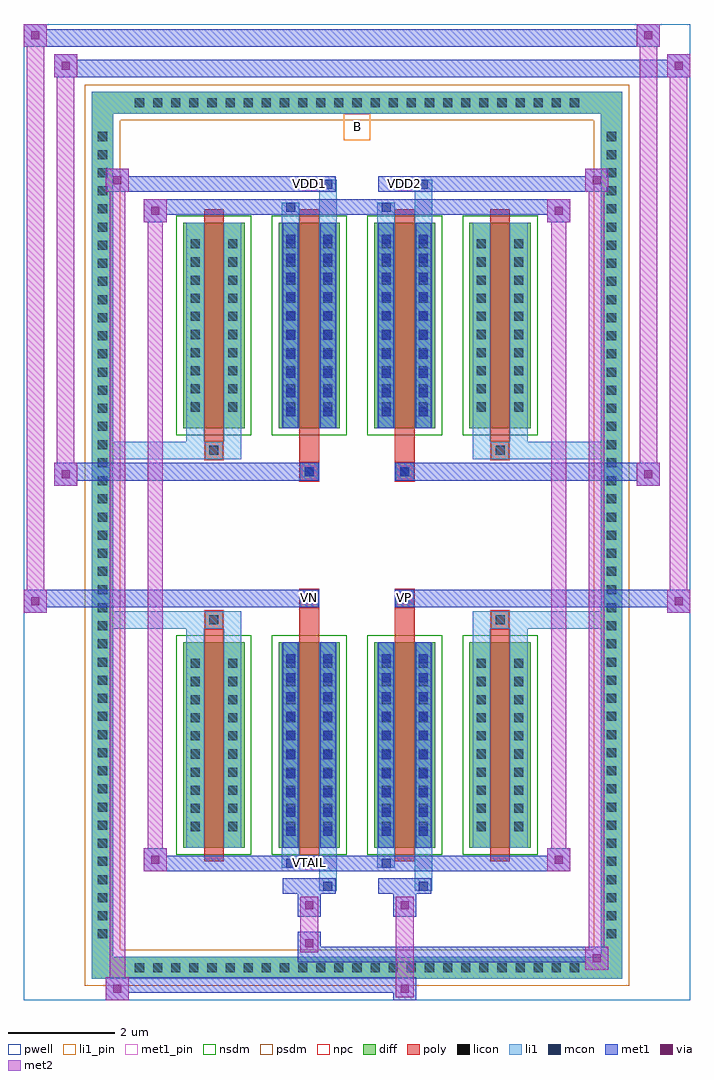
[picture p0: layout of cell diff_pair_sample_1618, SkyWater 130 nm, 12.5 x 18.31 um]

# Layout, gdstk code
import gdstk
lib = gdstk.Library(unit=1e-6, precision=5e-09)
def R(c, l, rs):  # rectangles x0, y0, x1, y1
    for r in rs: c.add(gdstk.rectangle(r[:2], r[2:], *l))
def A(c, l, x, y, w, h, nx, ny, dx, dy):  # array of equal rectangles
    R(c, l, [(x+i*dx, y+j*dy, x+i*dx+w, y+j*dy+h) for i in range(nx) for j in range(ny)])
def P(c, l, *ps):  # polygons
    for p in ps: c.add(gdstk.Polygon(p, *l))
pwell = (64, 44)
diff = (65, 20)
poly = (66, 20)
licon = (66, 44)
li1_pin = (67, 16)
li1 = (67, 20)
mcon = (67, 44)
met1_pin = (68, 16)
met1 = (68, 20)
via = (68, 44)
met2 = (69, 20)
nsdm = (93, 44)
psdm = (94, 20)
npc = (95, 20)

diff_pair_sample_1618 = lib.new_cell('diff_pair_sample_1618')
R(diff_pair_sample_1618, pwell, [(-6.25,-8.72,6.25,9.59), (-3.57,-6.91,-0.01,-0.825), (0.01,-6.91,3.57,-0.825), (-3.57,0.825,-0.01,6.91), (0.01,0.825,3.57,6.91)])
A(diff_pair_sample_1618, diff, -4.285, -8.32, 0.41, 0.41, 25, 2, 0.34, 16.23)
A(diff_pair_sample_1618, diff, -4.98, -7.685, 0.41, 0.41, 1, 45, 0, 0.34)
A(diff_pair_sample_1618, diff, 4.57, -7.685, 0.41, 0.41, 1, 45, 0, 0.34)
A(diff_pair_sample_1618, diff, -3.26, -5.865, 1.15, 3.86, 4, 2, 1.79, 7.87)
R(diff_pair_sample_1618, diff, [(-4.285,-8.32,4.285,-7.91), (-4.98,-7.685,-4.57,7.685), (4.57,-7.685,4.98,7.685), (-4.285,7.91,4.285,8.32)])
P(diff_pair_sample_1618, diff, [(4.98,8.32),(-4.98,8.32),(-4.98,-7.91),(-4.57,-7.91),(-4.57,7.91),(4.57,7.91),(4.57,-7.91),(-4.57,-7.91),(-4.98,-7.91),(-4.98,-8.32),(4.98,-8.32)])
A(diff_pair_sample_1618, poly, -2.87, -6.115, 0.37, 4.36, 4, 2, 1.79, 7.87)
R(diff_pair_sample_1618, poly, [(-2.85,-1.755,-2.52,-1.425), (-2.85,-1.755,-2.52,-1.425), (-1.08,-1.755,-0.71,-1.355), (0.71,-1.755,1.08,-1.355), (2.52,-1.755,2.85,-1.425), (2.52,-1.755,2.85,-1.425), (-1.08,-1.355,-0.71,-1.025), (-1.06,-1.355,-0.73,-1.025), (0.71,-1.355,1.08,-1.025), (0.73,-1.355,1.06,-1.025), (-1.08,1.025,-0.71,1.355), (-1.06,1.025,-0.73,1.355), (0.71,1.025,1.08,1.355), (0.73,1.025,1.06,1.355), (-1.08,1.355,-0.71,1.755), (0.71,1.355,1.08,1.755), (-2.85,1.425,-2.52,1.755), (-2.85,1.425,-2.52,1.755), (2.52,1.425,2.85,1.755), (2.52,1.425,2.85,1.755)])
A(diff_pair_sample_1618, licon, -4.165, -8.2, 0.17, 0.17, 25, 2, 0.34, 16.23)
A(diff_pair_sample_1618, licon, -4.86, -7.565, 0.17, 0.17, 1, 45, 0, 0.34)
A(diff_pair_sample_1618, licon, 4.69, -7.565, 0.17, 0.17, 1, 45, 0, 0.34)
A(diff_pair_sample_1618, licon, -3.12, -5.55, 0.17, 0.17, 1, 10, 0, 0.34)
A(diff_pair_sample_1618, licon, -2.42, -5.55, 0.17, 0.17, 1, 10, 0, 0.34)
A(diff_pair_sample_1618, licon, -1.33, -5.55, 0.17, 0.17, 1, 10, 0, 0.34)
A(diff_pair_sample_1618, licon, -0.63, -5.55, 0.17, 0.17, 1, 10, 0, 0.34)
A(diff_pair_sample_1618, licon, 0.46, -5.55, 0.17, 0.17, 1, 10, 0, 0.34)
A(diff_pair_sample_1618, licon, 1.16, -5.55, 0.17, 0.17, 1, 10, 0, 0.34)
A(diff_pair_sample_1618, licon, 2.25, -5.55, 0.17, 0.17, 1, 10, 0, 0.34)
A(diff_pair_sample_1618, licon, 2.95, -5.55, 0.17, 0.17, 1, 10, 0, 0.34)
A(diff_pair_sample_1618, licon, -3.12, 2.32, 0.17, 0.17, 1, 10, 0, 0.34)
A(diff_pair_sample_1618, licon, -2.42, 2.32, 0.17, 0.17, 1, 10, 0, 0.34)
A(diff_pair_sample_1618, licon, -1.33, 2.32, 0.17, 0.17, 1, 10, 0, 0.34)
A(diff_pair_sample_1618, licon, -0.63, 2.32, 0.17, 0.17, 1, 10, 0, 0.34)
A(diff_pair_sample_1618, licon, 0.46, 2.32, 0.17, 0.17, 1, 10, 0, 0.34)
A(diff_pair_sample_1618, licon, 1.16, 2.32, 0.17, 0.17, 1, 10, 0, 0.34)
A(diff_pair_sample_1618, licon, 2.25, 2.32, 0.17, 0.17, 1, 10, 0, 0.34)
A(diff_pair_sample_1618, licon, 2.95, 2.32, 0.17, 0.17, 1, 10, 0, 0.34)
R(diff_pair_sample_1618, licon, [(-2.77,-1.675,-2.6,-1.505), (2.6,-1.675,2.77,-1.505), (-0.98,-1.275,-0.81,-1.105), (0.81,-1.275,0.98,-1.105), (-0.98,1.105,-0.81,1.275), (0.81,1.105,0.98,1.275), (-2.77,1.505,-2.6,1.675), (2.6,1.505,2.77,1.675)])
R(diff_pair_sample_1618, li1_pin, [(-0.25,7.41,0.25,7.91)])
A(diff_pair_sample_1618, li1, -4.245, -8.28, 0.33, 0.33, 25, 2, 0.34, 16.23)
A(diff_pair_sample_1618, li1, -4.94, -7.645, 0.33, 0.33, 1, 45, 0, 0.34)
A(diff_pair_sample_1618, li1, 4.61, -7.645, 0.33, 0.33, 1, 45, 0, 0.34)
A(diff_pair_sample_1618, li1, -1.33, -5.64, 0.17, 0.17, 1, 10, 0, 0.36)
A(diff_pair_sample_1618, li1, -0.63, -5.64, 0.17, 0.17, 1, 10, 0, 0.36)
A(diff_pair_sample_1618, li1, 0.46, -5.64, 0.17, 0.17, 1, 10, 0, 0.36)
A(diff_pair_sample_1618, li1, 1.16, -5.64, 0.17, 0.17, 1, 10, 0, 0.36)
A(diff_pair_sample_1618, li1, -3.2, -5.63, 0.33, 0.33, 1, 10, 0, 0.34)
A(diff_pair_sample_1618, li1, -2.5, -5.63, 0.33, 0.33, 1, 10, 0, 0.34)
A(diff_pair_sample_1618, li1, -1.41, -5.63, 0.33, 0.33, 1, 10, 0, 0.34)
A(diff_pair_sample_1618, li1, -0.71, -5.63, 0.33, 0.33, 1, 10, 0, 0.34)
A(diff_pair_sample_1618, li1, 0.38, -5.63, 0.33, 0.33, 1, 10, 0, 0.34)
A(diff_pair_sample_1618, li1, 1.08, -5.63, 0.33, 0.33, 1, 10, 0, 0.34)
A(diff_pair_sample_1618, li1, 2.17, -5.63, 0.33, 0.33, 1, 10, 0, 0.34)
A(diff_pair_sample_1618, li1, 2.87, -5.63, 0.33, 0.33, 1, 10, 0, 0.34)
A(diff_pair_sample_1618, li1, -1.33, 2.23, 0.17, 0.17, 1, 10, 0, 0.36)
A(diff_pair_sample_1618, li1, -0.63, 2.23, 0.17, 0.17, 1, 10, 0, 0.36)
A(diff_pair_sample_1618, li1, 0.46, 2.23, 0.17, 0.17, 1, 10, 0, 0.36)
A(diff_pair_sample_1618, li1, 1.16, 2.23, 0.17, 0.17, 1, 10, 0, 0.36)
A(diff_pair_sample_1618, li1, -3.2, 2.24, 0.33, 0.33, 1, 10, 0, 0.34)
A(diff_pair_sample_1618, li1, -2.5, 2.24, 0.33, 0.33, 1, 10, 0, 0.34)
A(diff_pair_sample_1618, li1, -1.41, 2.24, 0.33, 0.33, 1, 10, 0, 0.34)
A(diff_pair_sample_1618, li1, -0.71, 2.24, 0.33, 0.33, 1, 10, 0, 0.34)
A(diff_pair_sample_1618, li1, 0.38, 2.24, 0.33, 0.33, 1, 10, 0, 0.34)
A(diff_pair_sample_1618, li1, 1.08, 2.24, 0.33, 0.33, 1, 10, 0, 0.34)
A(diff_pair_sample_1618, li1, 2.17, 2.24, 0.33, 0.33, 1, 10, 0, 0.34)
A(diff_pair_sample_1618, li1, 2.87, 2.24, 0.33, 0.33, 1, 10, 0, 0.34)
R(diff_pair_sample_1618, li1, [(-4.98,-8.32,-4.57,-7.91), (-4.98,-8.32,-4.57,-7.91), (-4.57,-8.32,4.57,-7.91), (4.57,-8.32,4.98,-7.91), (4.57,-8.32,4.98,-7.91), (-4.98,-7.91,-4.57,7.91), (4.57,-7.91,4.98,7.91), (-0.71,-6.67,-0.38,-5.865), (-0.63,-6.67,-0.46,-6.5), (1.08,-6.67,1.41,-5.865), (1.16,-6.67,1.33,-6.5), (-1.41,-6.24,-1.08,-5.865), (-1.33,-6.24,-1.16,-6.07), (0.38,-6.24,0.71,-5.865), (0.46,-6.24,0.63,-6.07), (-3.2,-5.865,-2.87,-2.005), (-2.5,-5.865,-2.17,-2.005), (-1.41,-5.865,-1.08,-2.005), (-0.71,-5.865,-0.38,-2.005), (0.38,-5.865,0.71,-2.005), (1.08,-5.865,1.41,-2.005), (2.17,-5.865,2.5,-2.005), (2.87,-5.865,3.2,-2.005), (-1.33,-5.64,-1.16,-2.23), (-0.63,-5.64,-0.46,-2.23), (0.46,-5.64,0.63,-2.23), (1.16,-5.64,1.33,-2.23), (-3.2,-2.005,-2.87,-1.425), (-2.5,-2.005,-2.17,-1.425), (2.17,-2.005,2.5,-1.425), (2.87,-2.005,3.2,-1.425), (-4.98,-1.755,-2.85,-1.425), (-3.2,-1.755,-2.85,-1.425), (-2.85,-1.755,-2.52,-1.425), (-2.52,-1.755,-2.17,-1.425), (2.17,-1.755,2.52,-1.425), (2.52,-1.755,2.85,-1.425), (2.52,-1.755,4.98,-1.425), (2.85,-1.755,3.2,-1.425), (-1.06,-1.355,-0.73,-1.025), (0.73,-1.355,1.06,-1.025), (-1.06,1.025,-0.73,1.355), (0.73,1.025,1.06,1.355), (-4.98,1.425,-2.85,1.755), (-3.2,1.425,-2.85,1.755), (-3.2,1.425,-2.87,2.005), (-2.85,1.425,-2.52,1.755), (-2.52,1.425,-2.17,1.755), (-2.5,1.425,-2.17,2.005), (2.17,1.425,2.52,1.755), (2.17,1.425,2.5,2.005), (2.52,1.425,2.85,1.755), (2.52,1.425,4.98,1.755), (2.85,1.425,3.2,1.755), (2.87,1.425,3.2,2.005), (-3.2,2.005,-2.87,5.865), (-2.5,2.005,-2.17,5.865), (-1.41,2.005,-1.08,5.865), (-0.71,2.005,-0.38,5.865), (0.38,2.005,0.71,5.865), (1.08,2.005,1.41,5.865), (2.17,2.005,2.5,5.865), (2.87,2.005,3.2,5.865), (-1.33,2.23,-1.16,5.64), (-0.63,2.23,-0.46,5.64), (0.46,2.23,0.63,5.64), (1.16,2.23,1.33,5.64), (-1.41,5.865,-1.08,6.24), (-0.71,5.865,-0.38,6.67), (0.38,5.865,0.71,6.24), (1.08,5.865,1.41,6.67), (-1.33,6.07,-1.16,6.24), (0.46,6.07,0.63,6.24), (-0.63,6.5,-0.46,6.67), (1.16,6.5,1.33,6.67), (-4.98,7.91,-4.57,8.32), (-4.98,7.91,-4.57,8.32), (-4.57,7.91,4.57,8.32), (4.57,7.91,4.98,8.32), (4.57,7.91,4.98,8.32)])
A(diff_pair_sample_1618, mcon, -1.33, -5.64, 0.17, 0.17, 1, 10, 0, 0.36)
A(diff_pair_sample_1618, mcon, -0.63, -5.64, 0.17, 0.17, 1, 10, 0, 0.36)
A(diff_pair_sample_1618, mcon, 0.46, -5.64, 0.17, 0.17, 1, 10, 0, 0.36)
A(diff_pair_sample_1618, mcon, 1.16, -5.64, 0.17, 0.17, 1, 10, 0, 0.36)
A(diff_pair_sample_1618, mcon, -1.33, 2.23, 0.17, 0.17, 1, 10, 0, 0.36)
A(diff_pair_sample_1618, mcon, -0.63, 2.23, 0.17, 0.17, 1, 10, 0, 0.36)
A(diff_pair_sample_1618, mcon, 0.46, 2.23, 0.17, 0.17, 1, 10, 0, 0.36)
A(diff_pair_sample_1618, mcon, 1.16, 2.23, 0.17, 0.17, 1, 10, 0, 0.36)
R(diff_pair_sample_1618, mcon, [(-0.63,-6.67,-0.46,-6.5), (1.16,-6.67,1.33,-6.5), (-1.33,-6.24,-1.16,-6.07), (0.46,-6.24,0.63,-6.07), (-0.98,-1.275,-0.81,-1.105), (0.81,-1.275,0.98,-1.105), (-0.98,1.105,-0.81,1.275), (0.81,1.105,0.98,1.275), (-1.33,6.07,-1.16,6.24), (0.46,6.07,0.63,6.24), (-0.63,6.5,-0.46,6.67), (1.16,6.5,1.33,6.67)])
R(diff_pair_sample_1618, met1_pin, [(-1.03,-6.28,-0.76,-6.01), (-1.03,-1.295,-0.76,-1.025), (0.76,-1.295,1.03,-1.025), (-1.03,6.46,-0.76,6.73), (0.76,6.46,1.03,6.73)])
A(diff_pair_sample_1618, met1, -1.39, -5.7, 0.29, 0.29, 1, 10, 0, 0.36)
A(diff_pair_sample_1618, met1, -0.69, -5.7, 0.29, 0.29, 1, 10, 0, 0.36)
A(diff_pair_sample_1618, met1, 0.4, -5.7, 0.29, 0.29, 1, 10, 0, 0.36)
A(diff_pair_sample_1618, met1, 1.1, -5.7, 0.29, 0.29, 1, 10, 0, 0.36)
A(diff_pair_sample_1618, met1, -1.39, 2.17, 0.29, 0.29, 1, 10, 0, 0.36)
A(diff_pair_sample_1618, met1, -0.69, 2.17, 0.29, 0.29, 1, 10, 0, 0.36)
A(diff_pair_sample_1618, met1, 0.4, 2.17, 0.29, 0.29, 1, 10, 0, 0.36)
A(diff_pair_sample_1618, met1, 1.1, 2.17, 0.29, 0.29, 1, 10, 0, 0.36)
R(diff_pair_sample_1618, met1, [(-4.71,-8.72,-4.28,-8.29), (0.68,-8.72,1.11,-8.29), (-4.71,-8.58,1.11,-8.29), (4.28,-8.15,4.71,-7.72), (-1.11,-8.01,4.71,-7.72), (-1.11,-7.87,-0.68,-7.44), (-1.11,-7.16,-0.68,-6.73), (0.68,-7.16,1.11,-6.73), (-1.39,-6.73,-0.4,-6.44), (-0.69,-6.73,-0.4,-6.44), (0.4,-6.73,1.39,-6.44), (1.1,-6.73,1.39,-6.44), (-4,-6.3,-3.57,-5.87), (-4,-6.3,-1.39,-6.01), (-1.39,-6.3,-1.1,-6.01), (-1.39,-6.3,-0.4,-6.01), (-0.4,-6.3,0.4,-6.01), (0.4,-6.3,0.69,-6.01), (0.4,-6.3,1.39,-6.01), (1.39,-6.3,4,-6.01), (3.57,-6.3,4,-5.87), (-1.39,-5.865,-1.1,-2.005), (-0.69,-5.865,-0.4,-2.005), (0.4,-5.865,0.69,-2.005), (1.1,-5.865,1.39,-2.005), (-6.25,-1.455,-5.82,-1.025), (5.82,-1.455,6.25,-1.025), (-6.25,-1.355,-0.71,-1.025), (-1.08,-1.355,-0.71,-1.025), (0.71,-1.355,1.08,-1.025), (0.71,-1.355,6.25,-1.025), (-1.04,-1.335,-0.75,-1.045), (0.75,-1.335,1.04,-1.045), (-5.68,0.925,-5.25,1.355), (5.25,0.925,5.68,1.355), (-5.68,1.025,-1.08,1.355), (-1.08,1.025,-0.71,1.355), (0.71,1.025,1.08,1.355), (1.08,1.025,5.68,1.355), (-1.04,1.045,-0.75,1.335), (0.75,1.045,1.04,1.335), (-1.39,2.005,-1.1,5.865), (-0.69,2.005,-0.4,5.865), (0.4,2.005,0.69,5.865), (1.1,2.005,1.39,5.865), (-4,5.87,-3.57,6.3), (3.57,5.87,4,6.3), (-4,6.01,-1.39,6.3), (-1.39,6.01,-1.1,6.3), (-1.39,6.01,-0.4,6.3), (-0.4,6.01,0.4,6.3), (0.4,6.01,0.69,6.3), (0.4,6.01,1.39,6.3), (1.39,6.01,4,6.3), (-4.71,6.44,-4.28,6.87), (-4.71,6.44,-1.39,6.73), (-1.39,6.44,-0.4,6.73), (-0.69,6.44,-0.4,6.73), (0.4,6.44,1.39,6.73), (1.1,6.44,1.39,6.73), (1.39,6.44,4.71,6.73), (4.28,6.44,4.71,6.87), (-5.68,8.59,-5.25,9.02), (-5.68,8.59,-3.57,8.92), (-3.57,8.59,3.57,8.92), (3.57,8.59,6.25,8.92), (5.82,8.59,6.25,9.02), (-6.25,9.16,-5.82,9.59), (-6.25,9.16,-3.57,9.49), (-3.57,9.16,3.57,9.49), (3.57,9.16,5.68,9.49), (5.25,9.16,5.68,9.59)])
R(diff_pair_sample_1618, via, [(-4.57,-8.58,-4.42,-8.43), (0.82,-8.58,0.97,-8.43), (4.42,-8.01,4.57,-7.86), (-0.97,-7.73,-0.82,-7.58), (-0.97,-7.02,-0.82,-6.87), (0.82,-7.02,0.97,-6.87), (-3.86,-6.16,-3.71,-6.01), (3.71,-6.16,3.86,-6.01), (-6.11,-1.315,-5.96,-1.165), (5.96,-1.315,6.11,-1.165), (-5.54,1.065,-5.39,1.215), (5.39,1.065,5.54,1.215), (-3.86,6.01,-3.71,6.16), (3.71,6.01,3.86,6.16), (-4.57,6.58,-4.42,6.73), (4.42,6.58,4.57,6.73), (-5.54,8.73,-5.39,8.88), (5.96,8.73,6.11,8.88), (-6.11,9.3,-5.96,9.45), (5.39,9.3,5.54,9.45)])
R(diff_pair_sample_1618, met2, [(-4.71,-8.72,-4.28,-8.29), (-4.64,-8.72,-4.35,6.87), (-4.35,-8.72,-4.28,-8.29), (-4.66,-8.67,-4.33,-8.34), (0.73,-8.67,1.06,-8.34), (0.73,-8.34,1.06,-7.11), (4.28,-8.15,4.71,-7.72), (4.35,-8.15,4.64,6.87), (4.64,-8.15,4.71,-7.72), (4.33,-8.1,4.66,-7.77), (-1.06,-7.82,-0.73,-7.49), (-1.06,-7.49,-0.73,-7.11), (-1.06,-7.11,-0.73,-6.78), (0.73,-7.11,1.06,-6.78), (-4,-6.3,-3.57,-5.87), (-3.93,-6.3,-3.64,6.3), (-3.64,-6.3,-3.57,-5.87), (3.57,-6.3,4,-5.87), (3.64,-6.3,3.93,6.3), (3.93,-6.3,4,-5.87), (-3.95,-6.25,-3.62,-5.92), (3.62,-6.25,3.95,-5.92), (-6.25,-1.455,-5.82,-1.025), (-6.2,-1.455,-5.87,9.59), (-5.87,-1.455,-5.82,-1.025), (5.82,-1.455,6.25,-1.025), (5.87,-1.455,6.2,9.02), (6.2,-1.455,6.25,-1.025), (-6.2,-1.405,-5.87,-1.075), (5.87,-1.405,6.2,-1.075), (-5.68,0.925,-5.25,1.355), (-5.63,0.925,-5.3,9.02), (-5.3,0.925,-5.25,1.355), (5.25,0.925,5.68,1.355), (5.3,0.925,5.63,9.59), (5.63,0.925,5.68,1.355), (-5.63,0.975,-5.3,1.305), (5.3,0.975,5.63,1.305), (-4,5.87,-3.57,6.3), (-3.64,5.87,-3.57,6.3), (3.57,5.87,4,6.3), (3.93,5.87,4,6.3), (-3.95,5.92,-3.62,6.25), (3.62,5.92,3.95,6.25), (-4.71,6.44,-4.28,6.87), (-4.35,6.44,-4.28,6.87), (4.28,6.44,4.71,6.87), (4.64,6.44,4.71,6.87), (-4.66,6.49,-4.33,6.82), (4.33,6.49,4.66,6.82), (-5.68,8.59,-5.25,9.02), (-5.3,8.59,-5.25,9.02), (5.82,8.59,6.25,9.02), (6.2,8.59,6.25,9.02), (-5.63,8.64,-5.3,8.97), (5.87,8.64,6.2,8.97), (-6.25,9.16,-5.82,9.59), (-5.87,9.16,-5.82,9.59), (5.25,9.16,5.68,9.59), (5.63,9.16,5.68,9.59), (-6.2,9.21,-5.87,9.54), (5.3,9.21,5.63,9.54)])
A(diff_pair_sample_1618, nsdm, -3.39, -5.995, 1.41, 4.12, 4, 2, 1.79, 7.87)
P(diff_pair_sample_1618, psdm, [(5.11,8.45),(-5.11,8.45),(-5.11,-7.78),(-4.44,-7.78),(-4.44,7.78),(4.44,7.78),(4.44,-7.78),(-4.44,-7.78),(-5.11,-7.78),(-5.11,-8.45),(5.11,-8.45)])
R(diff_pair_sample_1618, npc, [(-2.87,-1.775,-2.5,-1.405), (2.5,-1.775,2.87,-1.405), (-1.08,-1.375,-0.71,-1.005), (0.71,-1.375,1.08,-1.005), (-1.08,1.005,-0.71,1.375), (0.71,1.005,1.08,1.375), (-2.87,1.405,-2.5,1.775), (2.5,1.405,2.87,1.775)])
diff_pair_sample_1618.add(gdstk.Label('VTAIL', (-0.895,-6.145), layer=68, texttype=5))
diff_pair_sample_1618.add(gdstk.Label('VN', (-0.895,-1.16), layer=68, texttype=5))
diff_pair_sample_1618.add(gdstk.Label('VP', (0.895,-1.16), layer=68, texttype=5))
diff_pair_sample_1618.add(gdstk.Label('B', (0,7.66), layer=67, texttype=5))
diff_pair_sample_1618.add(gdstk.Label('VDD2', (0.895,6.595), layer=68, texttype=5))
diff_pair_sample_1618.add(gdstk.Label('VDD1', (-0.895,6.595), layer=68, texttype=5))

lib.write_gds('diff_pair_sample_1618.gds')
